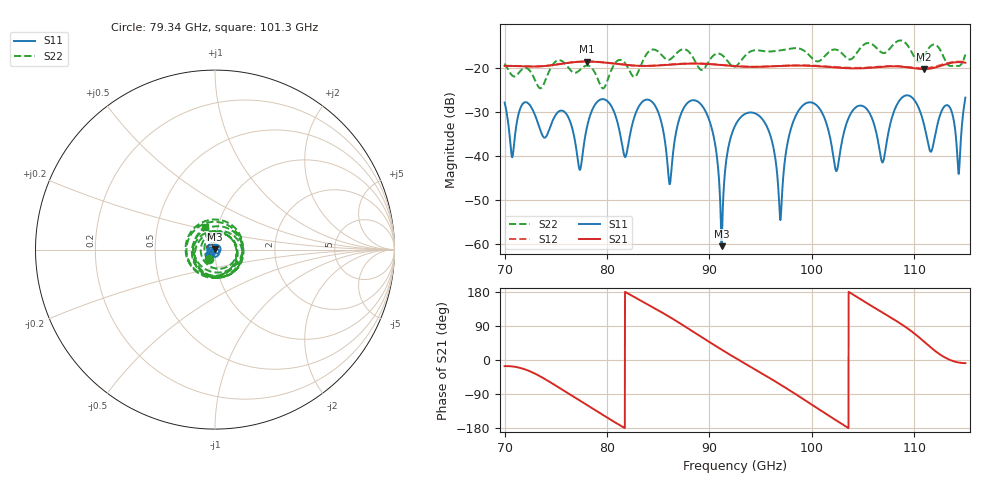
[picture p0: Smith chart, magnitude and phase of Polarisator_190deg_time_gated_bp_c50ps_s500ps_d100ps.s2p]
# Hz S RI R 1.000000
! Metas.Vna.Tools, 2.4.7898.19887
! Metas.Vna.Data, 2.4.7898.19873
! Created: UTC 2021.09.30 14:30:59
! FREQ  re:S1,1  im:S1,1  re:S2,1  im:S2,1  re:S1,2  im:S1,2  re:S2,2  im:S2,2
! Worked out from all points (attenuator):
!   2251 points, 70 GHz to 115 GHz, reference 1 ohm
!   highest |S21| = -18.55 dB at 78.02 GHz (marker M1); lowest = -20.3 dB at 110.9 GHz (marker M2)
!   lowest |S11| = -60.4 dB at 91.2 GHz (marker M3), VSWR 1.00, Z = 1 + j0.00186 ohm
!   |S11| at or under -10 dB: start of sweep to end of sweep
!   |S22| runs from -24.6 to -13.8 dB; largest |S21 - S12| = 0.016
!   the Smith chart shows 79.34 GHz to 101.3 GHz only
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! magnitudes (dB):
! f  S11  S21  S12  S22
! 70 GHz  -27.9  -19.5  -19.5  -19.0
! 70.74 GHz  -40.3  -19.6  -19.5  -21.7
! 72.1 GHz  -27.8  -19.7  -19.6  -20.0
! 77.5 GHz  -41.7  -18.6  -18.5  -20.1
! 78.02 GHz  -33.7  -18.5  -18.5  -19.5
! 85 GHz  -30.0  -19.4  -19.4  -16.3
! 86.12 GHz  -46.4  -19.3  -19.2  -18.1
! 87.42 GHz  -29.4  -19.1  -19.0  -15.8
! 89.42 GHz  -29.0  -19.1  -19.0  -20.3
! 91.2 GHz  -60.4  -19.3  -19.3  -17.0
! 92.5 GHz  -33.1  -19.6  -19.6  -19.7
! 95.42 GHz  -32.5  -19.7  -19.7  -16.2
! 96.94 GHz  -54.5  -19.5  -19.5  -16.0
! 98.04 GHz  -33.2  -19.5  -19.4  -15.6
! 100 GHz  -27.8  -19.5  -19.4  -17.7
! 102.4 GHz  -43.4  -19.9  -19.8  -15.8
! 104.4 GHz  -28.8  -20.1  -20.0  -16.7
! 107.5 GHz  -34.4  -19.6  -19.6  -15.9
! 110.9 GHz  -32.5  -20.3  -20.1  -17.5
! 113.4 GHz  -28.6  -19.0  -18.8  -19.4
! 114.3 GHz  -44.0  -18.7  -18.5  -19.6
! 115 GHz  -26.7  -18.8  -18.6  -17.0
